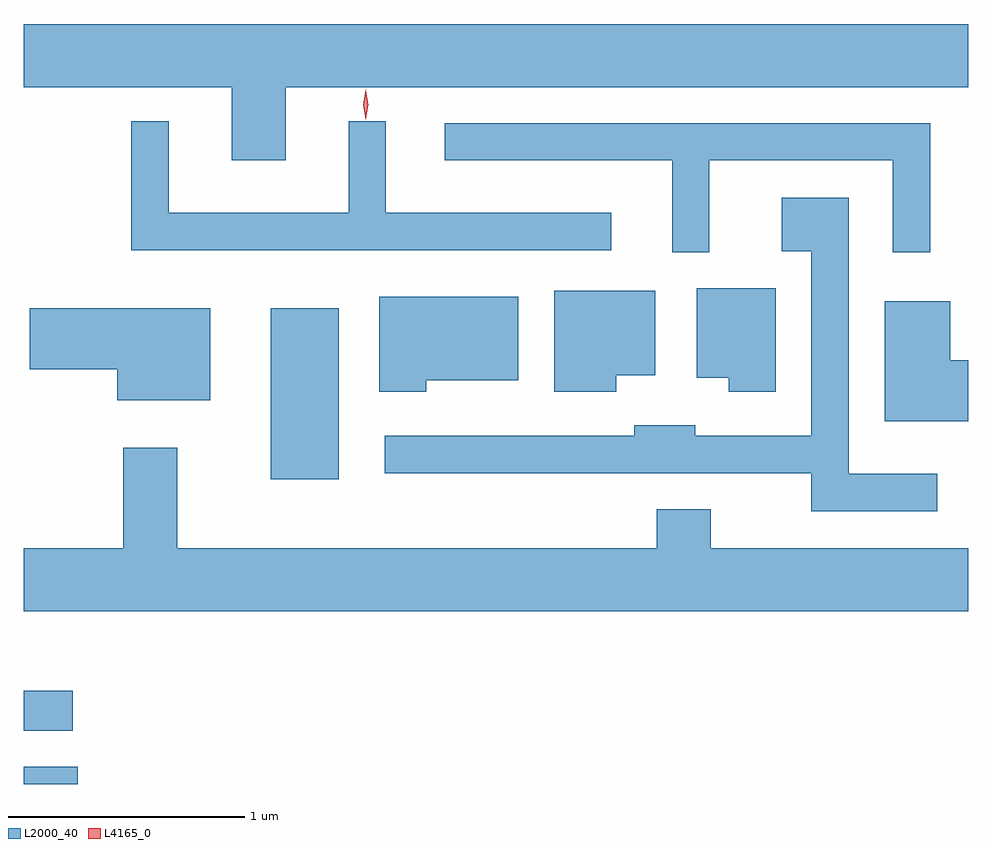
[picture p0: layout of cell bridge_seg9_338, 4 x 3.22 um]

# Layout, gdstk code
import gdstk
lib = gdstk.Library(unit=1e-6, precision=1e-09)
def R(c, l, rs):  # rectangles x0, y0, x1, y1
    for r in rs: c.add(gdstk.rectangle(r[:2], r[2:], *l))
def P(c, l, *ps):  # polygons
    for p in ps: c.add(gdstk.Polygon(p, *l))
L2000_40 = (2000, 40)
L4165_0 = (4165, 0)

bridge_seg9_338 = lib.new_cell('bridge_seg9_338')
R(bridge_seg9_338, L2000_40, [(765.46,1986.645,765.689,1986.719), (765.46,1986.871,765.668,1987.039), (766.506,1987.936,766.794,1988.659)])
P(bridge_seg9_338, L2000_40, [(766.569,1989.596),(769.46,1989.596),(769.46,1989.864),(765.46,1989.864),(765.46,1989.596),(766.341,1989.596),(766.341,1989.286),(766.569,1989.286)],
  [(767.948,1989.064),(766.994,1989.064),(766.994,1989.453),(766.836,1989.453),(766.836,1989.064),(766.074,1989.064),(766.074,1989.453),(765.916,1989.453),(765.916,1988.906),(767.948,1988.906)],
  [(768.364,1989.286),(769.141,1989.286),(769.141,1988.898),(769.299,1988.898),(769.299,1989.444),(767.243,1989.444),(767.243,1989.286),(768.206,1989.286),(768.206,1988.898),(768.364,1988.898)],
  [(769.328,1987.959),(768.954,1987.959),(768.954,1989.129),(768.671,1989.129),(768.671,1988.901),(768.796,1988.901),(768.796,1988.119),(768.304,1988.119),(768.304,1988.164),(768.046,1988.164),(768.046,1988.119),(766.988,1988.119),(766.988,1987.961),(768.796,1987.961),(768.796,1987.801),(769.328,1987.801)],
  [(768.644,1988.744),(768.311,1988.744),(768.311,1988.366),(768.446,1988.366),(768.446,1988.306),(768.644,1988.306)],
  [(767.969,1988.376),(768.134,1988.376),(768.134,1988.734),(767.706,1988.734),(767.706,1988.306),(767.969,1988.306)],
  [(767.164,1988.356),(767.554,1988.356),(767.554,1988.709),(766.966,1988.709),(766.966,1988.306),(767.164,1988.306)],
  [(769.46,1988.439),(769.384,1988.439),(769.384,1988.689),(769.106,1988.689),(769.106,1988.181),(769.46,1988.181)],
  [(766.249,1988.659),(765.486,1988.659),(765.486,1988.401),(765.856,1988.401),(765.856,1988.271),(766.249,1988.271)],
  [(769.46,1987.644),(768.369,1987.644),(768.369,1987.809),(768.141,1987.809),(768.141,1987.644),(766.109,1987.644),(766.109,1988.069),(765.881,1988.069),(765.881,1987.644),(765.46,1987.644),(765.46,1987.376),(769.46,1987.376)])
P(bridge_seg9_338, L4165_0, [(766.908,1989.458),(766.908,1989.458),(766.898,1989.522),(766.908,1989.586),(766.908,1989.587),(766.909,1989.586),(766.918,1989.522),(766.909,1989.458)])

lib.write_gds('bridge_seg9_338.gds')
